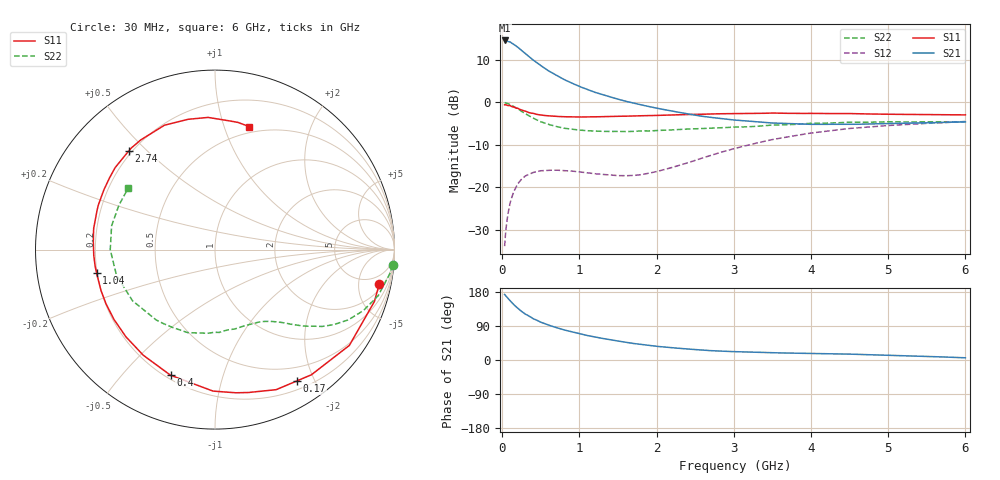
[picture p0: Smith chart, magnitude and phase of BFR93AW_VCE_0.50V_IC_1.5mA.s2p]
! Infineon Technologies  Discrete & RF Semiconductors
! BFR93AW
! VCE = 0.50 V,  IC =  1.5 mA
! Common Emitter S-Parameters:  Nov 2015
# GHz  S  MA  R  50
!  f  S11  S21  S12  S22
! GHz  MAG  ANG  MAG  ANG  MAG  ANG  MAG  ANG
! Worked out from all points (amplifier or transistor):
!   206 points, 30 MHz to 6 GHz, reference 50 ohm
!   highest |S21| = 14.6 dB at 30 MHz (marker M1)
!   |S21| within 3 dB of that: start of sweep to 293.9 MHz
!   unconditionally stable (mu >= 1): 1.235 GHz to 3.126 GHz; 4.028 GHz to end of sweep
!   at 200 MHz: K = 0.15, MSG = 16.1 dB, |S12| = -19.2 dB
!   at 1.56 GHz: K = 1.22, MAG = 6.0 dB, |S12| = -17.3 dB
!   at 6 GHz: K = 1.04, MAG = -1.2 dB, |S12| = -4.5 dB
!   S11 on the Smith chart (normalised r, x): 30 MHz: 2.88, -8.74; 170 MHz: 0.31, -1.77; 400 MHz: 0.22, -0.68; 1.04 GHz: 0.20, -0.09; 2.74 GHz: 0.19, +0.44; 6 GHz: 0.44, +1.22
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0.03  0.935 -11.8  5.346 172.9  0.0203 82.6  0.994 -5.0
0.055  0.9288 -19.7  5.278 166.8  0.0367 77.6  0.9773 -8.9
0.1  0.9194 -35.5  5.142 156.6  0.0649 69.8  0.9453 -15.7
0.15  0.8803 -52.4  4.81 145.6  0.0895 61.0  0.8943 -22.3
0.17  0.8626 -57.9  4.655 142.1  0.0974 57.6  0.8715 -24.4
0.2  0.8516 -66.4  4.457 136.4  0.1097 53.4  0.8397 -27.8
0.26  0.8062 -81.7  4.011 126.7  0.1273 45.6  0.7729 -32.9
0.3  0.7884 -90.8  3.746 120.9  0.1363 41.7  0.7338 -35.7
0.4  0.7425 -109.5  3.149 109.1  0.1495 33.5  0.6507 -40.9
0.5  0.7113 -124.2  2.702 99.6  0.1566 28.0  0.5902 -44.7
0.6  0.6946 -135.6  2.344 91.9  0.1589 24.1  0.5492 -47.6
0.7  0.6842 -145.5  2.081 85.4  0.1592 21.4  0.5197 -50.5
0.8  0.678 -153.7  1.856 79.4  0.1576 19.7  0.4959 -53.6
1.04  0.6723 -168.9  1.489 67.5  0.1504 18.9  0.468 -60.5
1.2  0.6762 -177.2  1.312 60.6  0.1444 20.1  0.4594 -65.7
1.5  0.6861 170.1  1.088 50.0  0.1373 27.3  0.4557 -76.0
2.02  0.703 151.6  0.846 35.7  0.1548 45.8  0.4675 -95.0
2.74  0.7302 130.9  0.659 24.3  0.2441 56.7  0.4975 -121.5
3.1  0.7373 121.7  0.61 21.5  0.3003 55.2  0.5127 -133.8
4.1  0.7392 100.0  0.551 16.9  0.4458 42.2  0.5675 -168.4
5.1  0.7227 84.7  0.565 12.0  0.5396 27.4  0.5888 164.6
6  0.7113 74.4  0.589 5.8  0.5937 16.1  0.5924 144.8
